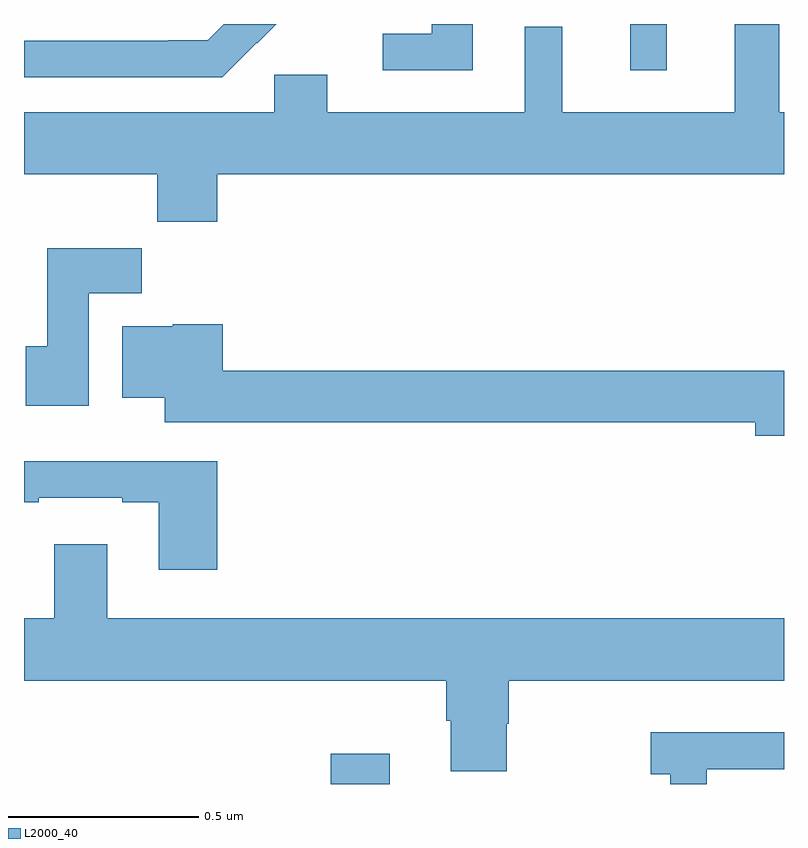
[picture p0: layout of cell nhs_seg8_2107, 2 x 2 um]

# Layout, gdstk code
import gdstk
lib = gdstk.Library(unit=1e-6, precision=1e-09)
def R(c, l, rs):  # rectangles x0, y0, x1, y1
    for r in rs: c.add(gdstk.rectangle(r[:2], r[2:], *l))
def P(c, l, *ps):  # polygons
    for p in ps: c.add(gdstk.Polygon(p, *l))
L2000_40 = (2000, 40)

nhs_seg8_2107 = lib.new_cell('nhs_seg8_2107')
R(nhs_seg8_2107, L2000_40, [(139.807,1110.9,139.963,1110.979), (140.595,1112.778,140.692,1112.9)])
P(nhs_seg8_2107, L2000_40, [(139.613,1112.851),(139.614,1112.85),(139.664,1112.9),(139.526,1112.9),(139.483,1112.857),(139.379,1112.857),(139.379,1112.856),(139,1112.856),(139,1112.76),(139.522,1112.76)],
  [(140.181,1112.9),(140.073,1112.9),(140.073,1112.874),(139.944,1112.874),(139.944,1112.778),(140.181,1112.778)],
  [(139.508,1112.504),(141,1112.504),(141,1112.668),(140.987,1112.668),(140.987,1112.9),(140.87,1112.9),(140.87,1112.668),(140.417,1112.668),(140.417,1112.893),(140.318,1112.893),(140.318,1112.668),(139.798,1112.668),(139.798,1112.766),(139.659,1112.766),(139.659,1112.668),(139,1112.668),(139,1112.504),(139.351,1112.504),(139.351,1112.38),(139.508,1112.38)],
  [(139.171,1112.192),(139.31,1112.192),(139.31,1112.31),(139.061,1112.31),(139.061,1112.052),(139.004,1112.052),(139.004,1111.896),(139.171,1111.896)],
  [(141,1111.988),(139.523,1111.988),(139.523,1112.11),(139.392,1112.11),(139.392,1112.104),(139.259,1112.104),(139.259,1111.916),(139.37,1111.916),(139.37,1111.852),(140.924,1111.852),(140.924,1111.817),(141,1111.817)],
  [(139.508,1111.75),(139,1111.75),(139,1111.641),(139.039,1111.641),(139.039,1111.653),(139.259,1111.653),(139.259,1111.641),(139.355,1111.641),(139.355,1111.464),(139.508,1111.464)],
  [(140.271,1111.059),(140.276,1111.059),(140.276,1111.172),(141,1111.172),(141,1111.336),(139.219,1111.336),(139.219,1111.531),(139.079,1111.531),(139.079,1111.336),(139,1111.336),(139,1111.172),(140.111,1111.172),(140.111,1111.066),(140.123,1111.066),(140.123,1110.934),(140.271,1110.934)],
  [(140.797,1110.939),(141,1110.939),(141,1111.036),(140.649,1111.036),(140.649,1110.926),(140.7,1110.926),(140.7,1110.9),(140.797,1110.9)])

lib.write_gds('nhs_seg8_2107.gds')
